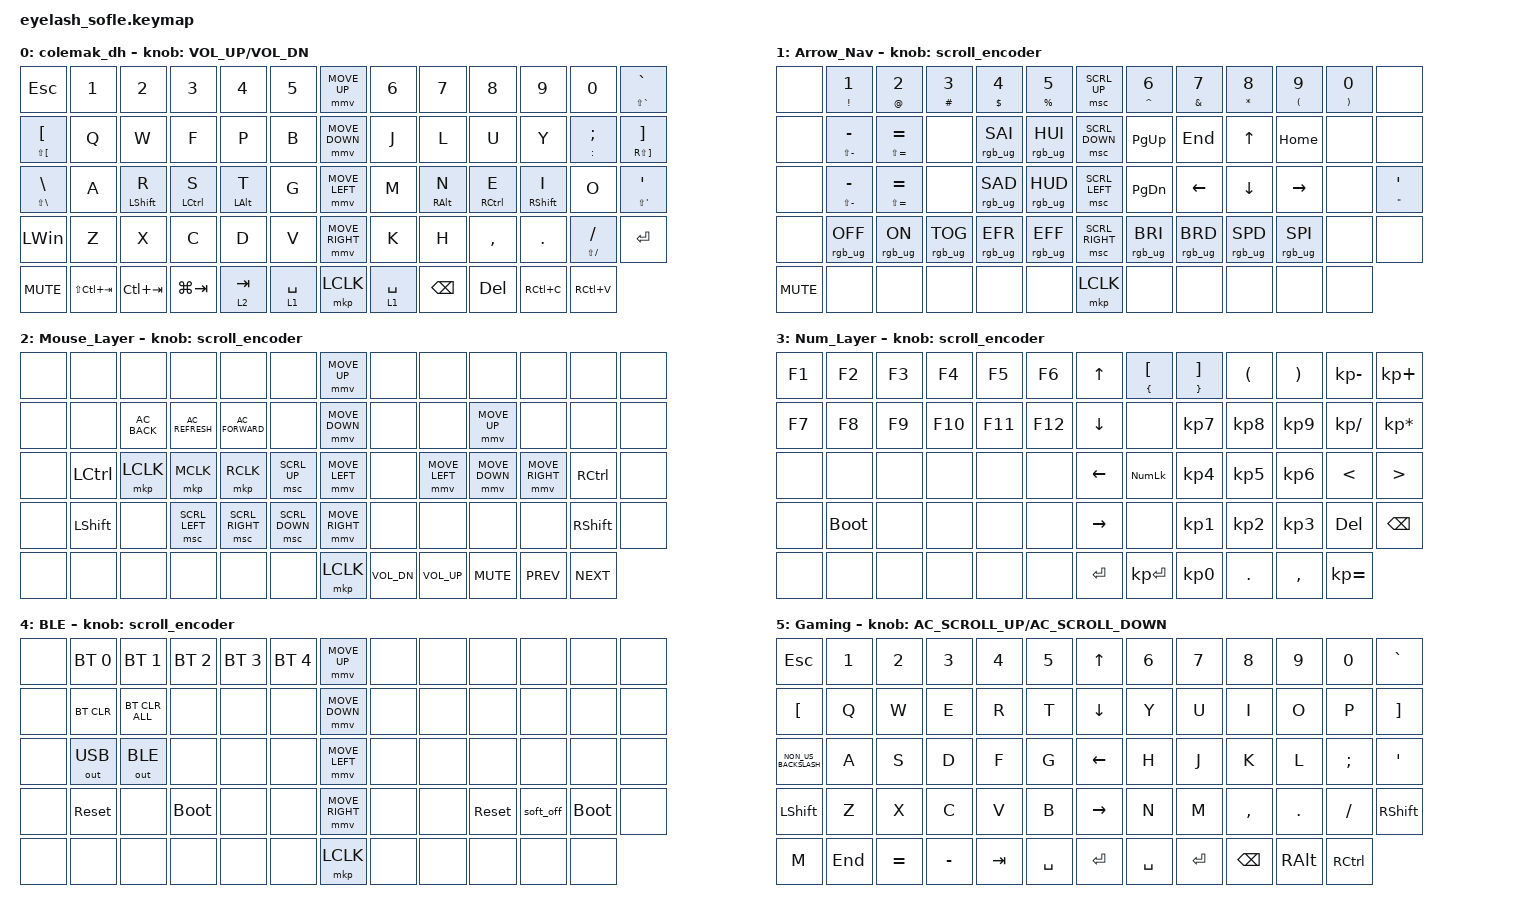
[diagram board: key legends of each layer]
#include <dt-bindings/zmk/mouse.h>
#include <input/processors.dtsi>
#include <behaviors.dtsi>
#include <dt-bindings/zmk/bt.h>
#include <dt-bindings/zmk/keys.h>
#include <dt-bindings/zmk/outputs.h>
#include <dt-bindings/zmk/pointing.h>
#include <dt-bindings/zmk/rgb.h>

/*

   &mmv_input_listener {
       input-processors = <&zip_xy_scaler 2 1>;
   };

   &msc_input_listener {
       input-processors = <&zip_xy_scaler 2 1>;
   };

 */

#define ZMK_MOUSE_DEFAULT_MOVE_VAL 1200  // 600
#define ZMK_MOUSE_DEFAULT_SCRL_VAL 20    // 10

&mt {
    tapping-term-ms = <200>;
    quick-tap-ms = <175>;
    flavor = "balanced";
    hold-trigger-key-positions = <28 36>;
    hold-trigger-on-release;
};

&mmv {
};

&msc {
};

&lt {
};

/ {
    behaviors {
        mmv {
            acceleration-exponent = <1>;      // 1
            time-to-max-speed-ms = <900>;    // 40
            delay-ms = <0>;                   // 0
        };

        msc {
            acceleration-exponent = <1>;      // 0
            time-to-max-speed-ms = <400>;      // 500
            delay-ms = <0>;                   //   10
        };
    };

    scroll_encoder: scroll_encoder {
        compatible = "zmk,behavior-sensor-rotate";
        #sensor-binding-cells = <0>;
        bindings = <&msc SCRL_DOWN>, <&msc SCRL_UP>;

        tap-ms = <30>;
    };

    combos {
        compatible = "zmk,combos";

        Enter {
            bindings = <&kp ENTER>;
            key-positions = <35 36>;
        };

        Backspace {
            bindings = <&kp BACKSPACE>;
            key-positions = <24 23>;
        };

        Delete {
            bindings = <&kp DEL>;
            key-positions = <25 24>;
        };

        CAPs {
            bindings = <&kp CAPS>;
            key-positions = <26 27>;
        };

        Screenshot {
            bindings = <&Screenshot>;
            key-positions = <40 41 42>;
        };

        grave_tilde {
            bindings = <&mt LS(GRAVE) GRAVE>;
            key-positions = <0 1>;
        };

        NUM {
            bindings = <&to 3>;
            key-positions = <7 8 9>;
        };

        BLE {
            bindings = <&to 4>;
            key-positions = <5 4 3>;
        };

        Base {
            bindings = <&to 0>;
            key-positions = <33 34 35 36>;
        };

        Gaming {
            bindings = <&tog 5>;
            key-positions = <53 54 55 56>;
        };

        Gaming_Enter {
            bindings = <&kp ENTER>;
            key-positions = <31 30>;
            layers = <5>;
        };

        Tilde {
            bindings = <&kp TILDE>;
            key-positions = <0 1>;
            layers = <5>;
        };

        Insert {
            bindings = <&kp INS>;
            key-positions = <5 4>;
        };

        alt {
            bindings = <&kp LEFT_ALT>;
            key-positions = <14 15>;
            layers = <5>;
        };

        Base2 {
            bindings = <&tog 0>;
            key-positions = <44 43 42 41>;
        };
    };

    macros {
        Screenshot: Screenshot {
            compatible = "zmk,behavior-macro";
            #binding-cells = <0>;
            bindings =
                <&macro_press>,
                <&kp LS(LEFT_WIN)>,
                <&macro_tap>,
                <&kp S>,
                <&macro_release>,
                <&kp LS(LEFT_WIN)>;

            label = "SCREENSHOT";
        };
    };

    keymap {
        compatible = "zmk,keymap";

        colemak_dh {
            bindings = <
&kp ESC                            &kp N1           &kp N2            &kp N3       &kp N4          &kp N5         &mmv MOVE_UP     &kp N6       &kp N7           &kp N8       &kp N9             &kp N0              &mt LS(GRAVE) GRAVE
&mt LS(LEFT_BRACKET) LEFT_BRACKET  &kp Q            &kp W             &kp F        &kp P           &kp B          &mmv MOVE_DOWN   &kp J        &kp L            &kp U        &kp Y              &mt COLON SEMI      &mt RS(RIGHT_BRACKET) RIGHT_BRACKET
&mt LS(BACKSLASH) BACKSLASH        &kp A            &mt LEFT_SHIFT R  &mt LCTRL S  &mt LEFT_ALT T  &kp G          &mmv MOVE_LEFT   &kp M        &mt RIGHT_ALT N  &mt RCTRL E  &mt RIGHT_SHIFT I  &kp O               &mt LS(APOS) APOS
&kp LEFT_WIN                       &kp Z            &kp X             &kp C        &kp D           &kp V          &mmv MOVE_RIGHT  &kp K        &kp H            &kp COMMA    &kp DOT            &mt LS(FSLH) SLASH  &kp ENTER
&kp C_MUTE                         &kp LS(LC(TAB))  &kp LC(TAB)       &kp LG(TAB)  &lt 2 TAB       &lt 1 SPACE    &mkp LCLK        &lt 1 SPACE  &kp BACKSPACE    &kp DEL      &kp RC(C)          &kp RC(V)
            >;

            sensor-bindings = <&inc_dec_kp C_VOLUME_UP C_VOL_DN>;
            label = "colemak_dh";
        };

        Arrow_Nav {
            bindings = <
&none       &mt EXCLAMATION NUMBER_1  &mt AT_SIGN NUMBER_2  &mt HASH NUMBER_3  &mt DOLLAR NUMBER_4  &mt PERCENT N5     &msc SCRL_UP     &mt CARET NUMBER_6  &mt AMPERSAND NUMBER_7  &mt ASTERISK NUMBER_8  &mt LEFT_PARENTHESIS NUMBER_9  &mt RIGHT_PARENTHESIS NUMBER_0  &none
&none       &mt LS(MINUS) MINUS       &mt LS(EQUAL) EQUAL   &none              &rgb_ug RGB_SAI      &rgb_ug RGB_HUI    &msc SCRL_DOWN   &kp PG_UP           &kp END                 &kp UP                 &kp HOME                       &none                           &none
&none       &mt LS(MINUS) MINUS       &mt LS(EQUAL) EQUAL   &none              &rgb_ug RGB_SAD      &rgb_ug RGB_HUD    &msc SCRL_LEFT   &kp PG_DN           &kp LEFT                &kp DOWN               &kp RIGHT                      &none                           &mt DOUBLE_QUOTES SQT
&none       &rgb_ug RGB_OFF           &rgb_ug RGB_ON        &rgb_ug RGB_TOG    &rgb_ug RGB_EFR      &rgb_ug RGB_EFF    &msc SCRL_RIGHT  &rgb_ug RGB_BRI     &rgb_ug RGB_BRD         &rgb_ug RGB_SPD        &rgb_ug RGB_SPI                &none                           &none
&kp C_MUTE  &none                     &none                 &none              &none                &none              &mkp LCLK        &none               &none                   &none                  &none                          &none
            >;

            display-name = "Arrow_Nav";
            sensor-bindings = <&scroll_encoder>;
        };

        Mouse_Layer {
            bindings = <
&none  &none           &none          &none             &none             &none             &mmv MOVE_UP     &none         &none            &none           &none            &none       &none
&none  &none           &kp C_AC_BACK  &kp C_AC_REFRESH  &kp C_AC_FORWARD  &none             &mmv MOVE_DOWN   &none         &none            &mmv MOVE_UP    &none            &none       &none
&none  &kp LCTRL       &mkp LCLK      &mkp MCLK         &mkp RCLK         &msc SCRL_UP      &mmv MOVE_LEFT   &none         &mmv MOVE_LEFT   &mmv MOVE_DOWN  &mmv MOVE_RIGHT  &kp RCTRL   &none
&none  &kp LEFT_SHIFT  &none          &msc SCRL_LEFT    &msc SCRL_RIGHT   &msc SCRL_DOWN    &mmv MOVE_RIGHT  &none         &none            &none           &none            &kp RSHIFT  &none
&none  &none           &none          &none             &none             &none             &mkp LCLK        &kp C_VOL_DN  &kp C_VOLUME_UP  &kp K_MUTE      &kp C_PREV       &kp C_NEXT
            >;

            label = "Mouse_Layer";
            sensor-bindings = <&scroll_encoder>;
        };

        Num_Layer {
            bindings = <
&kp F1  &kp F2       &kp F3  &kp F4   &kp F5   &kp F6     &kp UP           &mt LEFT_BRACE LEFT_BRACKET  &mt RIGHT_BRACE RIGHT_BRACKET  &kp LPAR         &kp RPAR         &kp KP_MINUS   &kp KP_PLUS
&kp F7  &kp F8       &kp F9  &kp F10  &kp F11  &kp F12    &kp DOWN         &none                        &kp KP_NUMBER_7                &kp KP_NUMBER_8  &kp KP_NUMBER_9  &kp KP_DIVIDE  &kp KP_MULTIPLY
&none   &none        &none   &none    &none    &none      &kp LEFT_ARROW   &kp KP_NUMLOCK               &kp KP_NUMBER_4                &kp KP_NUMBER_5  &kp KP_NUMBER_6  &kp LESS_THAN  &kp GREATER_THAN
&none   &bootloader  &none   &none    &none    &none      &kp RIGHT_ARROW  &none                        &kp KP_NUMBER_1                &kp KP_NUMBER_2  &kp KP_NUMBER_3  &kp DELETE     &kp BACKSPACE
&none   &none        &none   &none    &none    &none      &kp ENTER        &kp KP_ENTER                 &kp KP_NUMBER_0                &kp PERIOD       &kp COMMA        &kp KP_EQUAL
            >;

            label = "Num_Layer";
            sensor-bindings = <&scroll_encoder>;
        };

        BLE {
            bindings = <
&none  &bt BT_SEL 0  &bt BT_SEL 1    &bt BT_SEL 2  &bt BT_SEL 3  &bt BT_SEL 4    &mmv MOVE_UP     &none  &none  &none       &none      &none        &none
&none  &bt BT_CLR    &bt BT_CLR_ALL  &none         &none         &none           &mmv MOVE_DOWN   &none  &none  &none       &none      &none        &none
&none  &out OUT_USB  &out OUT_BLE    &none         &none         &none           &mmv MOVE_LEFT   &none  &none  &none       &none      &none        &none
&none  &sys_reset    &none           &bootloader   &none         &none           &mmv MOVE_RIGHT  &none  &none  &sys_reset  &soft_off  &bootloader  &none
&none  &none         &none           &none         &none         &none           &mkp LCLK        &none  &none  &none       &none      &none
            >;

            sensor-bindings = <&scroll_encoder>;
            label = "BLE";
        };

        Gaming {
            bindings = <
&kp ESC               &kp N1   &kp N2     &kp N3     &kp N4   &kp N5       &kp UP_ARROW  &kp N6     &kp N7     &kp N8     &kp N9    &kp N0     &kp GRAVE
&kp LBKT              &kp Q    &kp W      &kp E      &kp R    &kp T        &kp DOWN      &kp Y      &kp U      &kp I      &kp O     &kp P      &kp RBKT
&kp NON_US_BACKSLASH  &kp A    &kp S      &kp D      &kp F    &kp G        &kp LEFT      &kp H      &kp J      &kp K      &kp L     &kp SEMI   &kp APOS
&kp LSHFT             &kp Z    &kp X      &kp C      &kp V    &kp B        &kp RIGHT     &kp N      &kp M      &kp COMMA  &kp DOT   &kp FSLH   &kp RSHFT
&kp M                 &kp END  &kp EQUAL  &kp MINUS  &kp TAB  &kp SPACE    &kp ENTER     &kp SPACE  &kp ENTER  &kp BSPC   &kp RALT  &kp RCTRL
            >;

            label = "Gaming";
            sensor-bindings = <&inc_dec_kp C_AC_SCROLL_UP C_AC_SCROLL_DOWN>;
        };
    };
};
